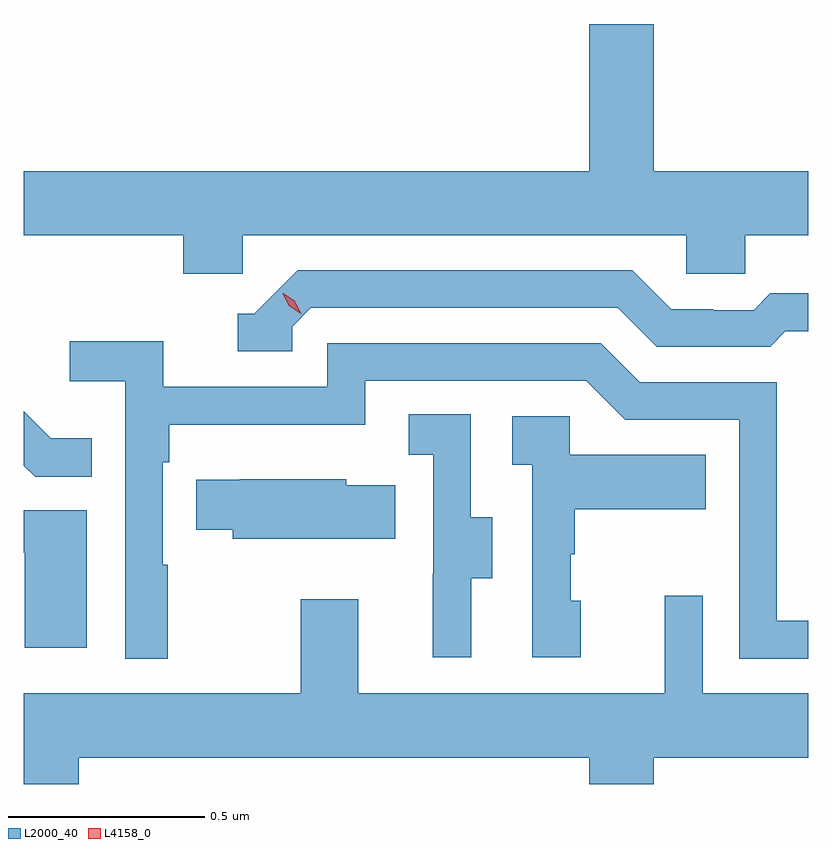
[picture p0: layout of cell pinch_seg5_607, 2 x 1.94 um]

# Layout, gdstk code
import gdstk
lib = gdstk.Library(unit=1e-6, precision=1e-09)
def P(c, l, *ps):  # polygons
    for p in ps: c.add(gdstk.Polygon(p, *l))
L2000_40 = (2000, 40)
L4158_0 = (4158, 0)

pinch_seg5_607 = lib.new_cell('pinch_seg5_607')
P(pinch_seg5_607, L2000_40, [(1099.188,855.428),(1100.319,855.428),(1100.319,855.33),(1100.469,855.33),(1100.469,855.428),(1100.63,855.428),(1100.63,855.592),(1100.236,855.592),(1100.236,855.967),(1100.072,855.967),(1100.072,855.592),(1098.63,855.592),(1098.63,855.428),(1099.037,855.428),(1099.037,855.33),(1099.188,855.33)],
  [(1099.314,855.195),(1099.362,855.243),(1100.145,855.243),(1100.244,855.144),(1100.533,855.144),(1100.572,855.183),(1100.63,855.183),(1100.63,855.28),(1100.533,855.28),(1100.491,855.237),(1100.388,855.237),(1100.388,855.24),(1100.281,855.24),(1100.182,855.339),(1099.329,855.339),(1099.218,855.228),(1099.175,855.228),(1099.175,855.132),(1099.314,855.132)],
  [(1098.997,854.588),(1098.984,854.588),(1098.984,854.849),(1099.001,854.849),(1099.001,854.945),(1099.5,854.945),(1099.5,855.057),(1100.064,855.057),(1100.163,854.958),(1100.454,854.958),(1100.454,854.349),(1100.63,854.349),(1100.63,854.445),(1100.55,854.445),(1100.55,855.054),(1100.2,855.054),(1100.101,855.153),(1099.404,855.153),(1099.404,855.042),(1098.986,855.042),(1098.986,855.158),(1098.747,855.158),(1098.747,855.056),(1098.888,855.056),(1098.888,854.349),(1098.997,854.349)],
  [(1098.803,854.911),(1098.699,854.911),(1098.63,854.98),(1098.63,854.841),(1098.659,854.812),(1098.803,854.812)],
  [(1099.771,854.554),(1099.825,854.554),(1099.825,854.709),(1099.77,854.709),(1099.77,854.972),(1099.611,854.972),(1099.611,854.869),(1099.674,854.869),(1099.674,854.565),(1099.673,854.565),(1099.673,854.352),(1099.771,854.352)],
  [(1100.05,854.496),(1100.025,854.496),(1100.025,854.615),(1100.035,854.615),(1100.035,854.729),(1100.369,854.729),(1100.369,854.869),(1100.022,854.869),(1100.022,854.967),(1099.875,854.967),(1099.875,854.843),(1099.926,854.843),(1099.926,854.352),(1100.05,854.352)],
  [(1099.577,854.791),(1099.452,854.791),(1099.452,854.806),(1099.18,854.806),(1099.18,854.805),(1099.069,854.805),(1099.069,854.677),(1099.163,854.677),(1099.163,854.654),(1099.577,854.654)],
  [(1098.79,854.727),(1098.63,854.727),(1098.63,854.619),(1098.632,854.619),(1098.632,854.376),(1098.79,854.376)],
  [(1098.77,854.096),(1100.072,854.096),(1100.072,854.029),(1100.236,854.029),(1100.236,854.096),(1100.63,854.096),(1100.63,854.26),(1100.361,854.26),(1100.361,854.509),(1100.264,854.509),(1100.264,854.26),(1099.483,854.26),(1099.483,854.5),(1099.336,854.5),(1099.336,854.26),(1098.63,854.26),(1098.63,854.029),(1098.77,854.029)])
P(pinch_seg5_607, L4158_0, [(1099.336,855.228),(1099.306,855.248),(1099.29,855.28),(1099.29,855.281),(1099.291,855.281),(1099.321,855.261),(1099.337,855.228),(1099.337,855.228)])

lib.write_gds('pinch_seg5_607.gds')
